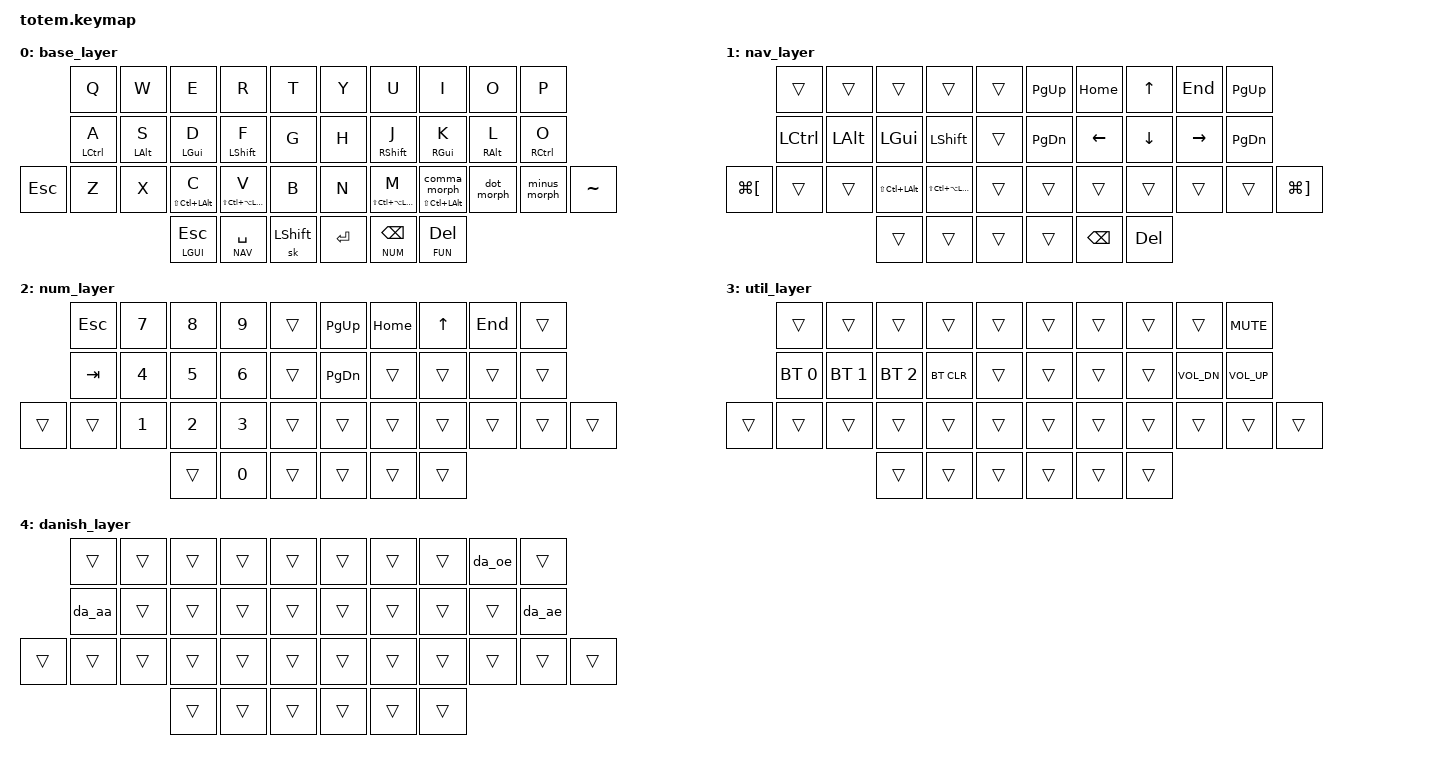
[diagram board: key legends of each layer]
//
//         ▀▀▀▀▀     ▀▀▀▀▀          ▀▀█▀▀
//         ▄▀▀▀▄  ▄  ▄▀▀▀▄  ▄  ▄▀▀▀▄  █  ▄▀▀▀▄
//         █   █  █  █   █  █  █   █  █  █   █
//          ▀▀▀   █   ▀▀▀   █   ▀▀▀   ▀   ▀▀▀
//                █      ▄▄▄█▄▄▄    █   █
//                ▀      █  █  █     █▄█
//              ▀▀▀▀▀    █  █  █      ▀
//                       ▀  ▀  ▀
//
// ▄▄▄▄▄▄▄▄▄▄▄▄▄▄▄▄▄▄▄▄▄▄▄▄▄▄▄▄▄▄▄▄▄▄▄▄▄▄▄▄▄▄▄▄▄▄▄▄▄▄▄▄▄

#include <behaviors.dtsi>
#include <dt-bindings/zmk/keys.h>

#include <dt-bindings/zmk/bt.h>
#include <dt-bindings/zmk/outputs.h>

#include "zmk-helpers/helper.h"
#include "zmk-helpers/key-labels/totem.h"
#include "zmk-helpers/unicode-chars/danish.dtsi"
#include "zmk-helpers/unicode-chars/currency.dtsi"

#define XXX &none
#define ___ &trans

#define BASE 0
#define NAV 1
#define NUM 2
#define SYM 3
#define FUN 4
#define DAN 5

#define BACK &kp LG(LBKT)
#define FWD &kp LG(RBKT)
#define HYP LS(LC(LA(LGUI)))
#define MEH LS(LC(LALT))

#define QUICK_TAP_MS 175

// smart-layer
&caps_word {
    /delete-property/ ignore-numbers;
    continue-list = <BACKSPACE ENTER DELETE UNDERSCORE MINUS>;
};

// sticky key
&sk {
    release-after-ms = <2000>;
    quick-release;
};

// layer-tap
&lt {
    flavor = "balanced";
    tapping-term-ms = <200>;
    quick-tap-ms = <QUICK_TAP_MS>;
};

/*                                      38 KEY MATRIX / LAYOUT MAPPING

    ╭────────────────────┬────────────────────╮        ╭──────────────────────┬─────────────────────╮
    │  0   1   2   3   4 │  5   6   7   8   9 │        │  LT4 LT3 LT2 LT1 LT0 │ RT0 RT1 RT2 RT3 RT4 │
 ╭──╯ 10  11  12  13  14 │ 15  16  17  18  19 ╰───╮ ╭──╯  LM4 LM3 LM2 LM1 LM0 │ RM0 RM1 RM2 RM3 RM4 ╰───╮
 │ 20 21  22  23  24  25 │ 26  27  28  29  30  31 │ │ LB5 LB4 LB3 LB2 LB1 LB0 │ RB0 RB1 RB2 RB3 RB4 RB5 │
 ╰──────────╮ 32  33  34 │ 35  36  37 ╭───────────╯ ╰──────────╮  LH2 LH1 LH0 │ RH0 RH1 RH2 ╭───────────╯
            ╰────────────┴────────────╯                        ╰──────────────┴─────────────╯
*/

// https://github.com/urob/zmk-config/tree/main#timeless-homerow-mods
#define KEYS_L LT0 LT1 LT2 LT3 LT4 LM0 LM1 LM2 LM3 LM4 LB0 LB1 LB2 LB3 LB4 LB5
#define KEYS_R RT0 RT1 RT2 RT3 RT4 RM0 RM1 RM2 RM3 RM4 RB0 RB1 RB2 RB3 RB4 RB5
#define THUMBS LH2 LH1 LH0 RH0 RH1 RH2

ZMK_CONDITIONAL_LAYER(dan, NAV NUM, DAN)

ZMK_HOLD_TAP(hml,
    flavor = "balanced";
    tapping-term-ms = <280>;
    require-prior-idle-ms = <150>;
    hold-trigger-key-positions = <KEYS_R THUMBS>;
    hold-trigger-on-release;
    bindings = <&kp>, <&kp>;
)

ZMK_HOLD_TAP(hmr,
    flavor = "balanced";
    tapping-term-ms = <280>;
    require-prior-idle-ms = <150>;
    hold-trigger-key-positions = <KEYS_L THUMBS>;
    hold-trigger-on-release;
    bindings = <&kp>, <&kp>;
)

// tap: comma | shift + tap: semicolon
ZMK_BEHAVIOR(comma_morph, mod_morph,
    bindings = <&kp COMMA>, <&kp SEMICOLON>;
    mods = <(MOD_LSFT|MOD_RSFT)>;
)

// tap: dot | shift + tap: colon
ZMK_BEHAVIOR(dot_morph, mod_morph,
    bindings = <&kp DOT>, <&kp COLON>;
    mods = <(MOD_LSFT|MOD_RSFT)>;
)

// tap: minus | shift + tap: underscore
ZMK_BEHAVIOR(minus_morph, mod_morph,
    bindings = <&kp MINUS>, <&kp UNDERSCORE>;
    mods = <(MOD_LSFT|MOD_RSFT)>;
)

ZMK_COMBO(letter_ae, &da_ae, RM3 RM4, BASE)
ZMK_COMBO(letter_aa, &da_aa, LM3 LM4, BASE)
ZMK_COMBO(letter_oe, &da_oe, RT3 RT4, BASE)

ZMK_LAYER(base_layer,
//               ╭─────────────┬─────────────┬─────────────┬─────────────┬─────────────╮   ╭─────────────┬─────────────┬─────────────┬─────────────┬─────────────╮
                   &kp Q         &kp W         &kp E         &kp R         &kp T             &kp Y         &kp U         &kp I         &kp O         &kp P
//               ├─────────────┼─────────────┼─────────────┼─────────────┼─────────────┤   ├─────────────┼─────────────┼─────────────┼─────────────┼─────────────┤
                   &hml LCTRL A  &hml LALT S   &hml LGUI D   &hml LSHIFT F &kp G             &kp H         &hmr RSHIFT J &hmr RGUI K   &hmr RALT L   &hmr RCTRL O
// ╭─────────────├─────────────┼─────────────┼─────────────┼─────────────┼─────────────┤   ├─────────────┼─────────────┼─────────────┼─────────────┼─────────────┤─────────────╮
     &kp ESC       &kp Z         &kp X         &hml MEH C    &hml HYP V    &kp B             &kp N         &hmr HYP M    &hmr_meh MEH comma_morph &kp dot_morph &kp minus_morph &kp TILDE
// ╰─────────────┴─────────────┴─────────────┼─────────────┼─────────────┼─────────────┤   ├─────────────┼─────────────┼─────────────┴─────────────┴─────────────┴─────────────╯
                                               &lt LGUI ESC  &lt NAV SPACE &sk LSHFT         &kp RET       &lt NUM BSPC  &lt FUN DEL
//                                           ╰─────────────┴─────────────┴─────────────╯   ╰─────────────┴─────────────┴─────────────╯
)

ZMK_LAYER(nav_layer,
//               ╭─────────────┬─────────────┬─────────────┬─────────────┬─────────────╮   ╭─────────────┬─────────────┬─────────────┬─────────────┬─────────────╮
                   ___           ___           ___           ___           ___               &kp PG_UP     &kp HOME      &kp UP        &kp END       &kp PG_UP
//               ├─────────────┼─────────────┼─────────────┼─────────────┼─────────────┤   ├─────────────┼─────────────┼─────────────┼─────────────┼─────────────┤
                   &kp LCTRL     &kp LALT      &kp LGUI      &kp LSHIFT    ___               &kp PG_DN     &kp LEFT      &kp DOWN      &kp RIGHT     &kp PG_DN
// ╭─────────────├─────────────┼─────────────┼─────────────┼─────────────┼─────────────┤   ├─────────────┼─────────────┼─────────────┼─────────────┼─────────────┤─────────────╮
     BACK          ___           ___           &kp MEH       &kp HYP       ___               ___           ___           ___           ___           ___           FWD
// ╰─────────────┴─────────────┴─────────────┼─────────────┼─────────────┼─────────────┤   ├─────────────┼─────────────┼─────────────┴─────────────┴─────────────┴─────────────╯
                                               ___           ___           ___               ___           &kp BSPC      &kp DEL
//                                           ╰─────────────┴─────────────┴─────────────╯   ╰─────────────┴─────────────┴─────────────╯
)

ZMK_LAYER(num_layer,
//               ╭─────────────┬─────────────┬─────────────┬─────────────┬─────────────╮   ╭─────────────┬─────────────┬─────────────┬─────────────┬─────────────╮
                   &kp ESC       &kp N7        &kp N8        &kp N9        ___               &kp PG_UP     &kp HOME      &kp UP        &kp END       ___
//               ├─────────────┼─────────────┼─────────────┼─────────────┼─────────────┤   ├─────────────┼─────────────┼─────────────┼─────────────┼─────────────┤
                   &kp TAB       &kp N4        &kp N5        &kp N6        ___               &kp PG_DN     ___           ___           ___           ___
// ╭─────────────├─────────────┼─────────────┼─────────────┼─────────────┼─────────────┤   ├─────────────┼─────────────┼─────────────┼─────────────┼─────────────┤─────────────╮
     ___           ___           &kp N1        &kp N2        &kp N3        ___               ___           ___           ___           ___           ___           ___
// ╰─────────────┴─────────────┴─────────────┼─────────────┼─────────────┼─────────────┤   ├─────────────┼─────────────┼─────────────┴─────────────┴─────────────┴─────────────╯
                                               ___           &kp N0        ___               ___           ___           ___
//                                           ╰─────────────┴─────────────┴─────────────╯   ╰─────────────┴─────────────┴─────────────╯
)

ZMK_LAYER(util_layer,
//               ╭─────────────┬─────────────┬─────────────┬─────────────┬─────────────╮   ╭─────────────┬─────────────┬─────────────┬─────────────┬─────────────╮
                   ___           ___           ___           ___           ___               ___           ___           ___           ___           &kp K_MUTE
//               ├─────────────┼─────────────┼─────────────┼─────────────┼─────────────┤   ├─────────────┼─────────────┼─────────────┼─────────────┼─────────────┤
                   &bt BT_SEL 0 &bt BT_SEL 1 &bt BT_SEL 2    &bt BT_CLR    ___               ___           ___           ___           &kp K_VOL_DN  &kp K_VOL_UP
// ╭─────────────├─────────────┼─────────────┼─────────────┼─────────────┼─────────────┤   ├─────────────┼─────────────┼─────────────┼─────────────┼─────────────┤─────────────╮
     ___           ___           ___           ___           ___           ___               ___           ___           ___           ___           ___           ___
// ╰─────────────┴─────────────┴─────────────┼─────────────┼─────────────┼─────────────┤   ├─────────────┼─────────────┼─────────────┴─────────────┴─────────────┴─────────────╯
                                               ___           ___           ___               ___           ___           ___
//                                           ╰─────────────┴─────────────┴─────────────╯   ╰─────────────┴─────────────┴─────────────╯
)

ZMK_LAYER(danish_layer,
//               ╭─────────────┬─────────────┬─────────────┬─────────────┬─────────────╮   ╭─────────────┬─────────────┬─────────────┬─────────────┬─────────────╮
                   ___           ___           ___           ___           ___               ___           ___           ___           &da_oe        ___
//               ├─────────────┼─────────────┼─────────────┼─────────────┼─────────────┤   ├─────────────┼─────────────┼─────────────┼─────────────┼─────────────┤
                   &da_aa        ___           ___           ___           ___               ___           ___           ___           ___           &da_ae
// ╭─────────────├─────────────┼─────────────┼─────────────┼─────────────┼─────────────┤   ├─────────────┼─────────────┼─────────────┼─────────────┼─────────────┤─────────────╮
     ___           ___           ___           ___           ___           ___               ___           ___           ___           ___           ___           ___
// ╰─────────────┴─────────────┴─────────────┼─────────────┼─────────────┼─────────────┤   ├─────────────┼─────────────┼─────────────┴─────────────┴─────────────┴─────────────╯
                                               ___           ___           ___               ___           ___           ___
//                                           ╰─────────────┴─────────────┴─────────────╯   ╰─────────────┴─────────────┴─────────────╯
)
